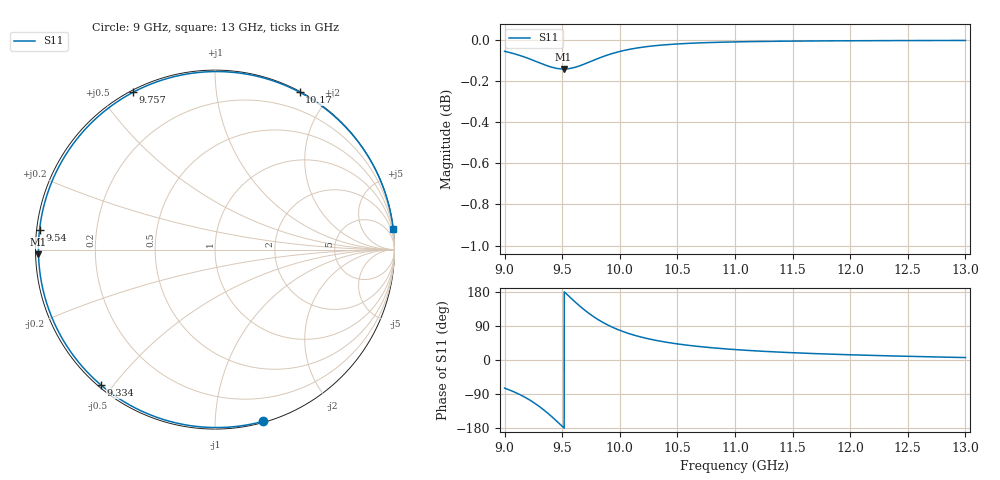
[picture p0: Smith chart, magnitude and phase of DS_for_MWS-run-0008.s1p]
! TOUCHSTONE file generated by CST DESIGN STUDIO
! Date and time: Tue Feb  4 17:19:18 2025
! Project name: C:\Work\MatlabApps\UnitCellOptimizationMatlab\CST\unitcell.cst
! Tree item: Tasks\Sweep1\SPara1\S-Parameters
! Header version: 2024
! Port assignment regex: !\s*Touchstone port\s*([0-9]+)\s*=\s*(CST MWS port|CST DES external port|CST DES block port)\s*(.+)\s* \(\"(.*)\"\)(\s*mode\s*([0-9]+))?.*
! Touchstone port assignment:
! Touchstone port 1 = CST DES external port 1 ("")
# GHz S MA R 50
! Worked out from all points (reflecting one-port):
!   4001 points, 9 GHz to 13 GHz, reference 50 ohm
!   lowest |S11| = -0.1 dB at 9.512 GHz (marker M1), VSWR 122.75, Z = 0.407 - j0.69 ohm
!   phase of S11 starts at -74 deg and turns -279 deg over the sweep
!   S11 on the Smith chart (normalised r, x): 9 GHz: 0.01, -1.32; 9.334 GHz: 0.01, -0.46; 9.54 GHz: 0.01, +0.06; 9.757 GHz: 0.01, +0.61; 10.17 GHz: 0.01, +1.67; 13 GHz: 0, +18
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9  0.9936 -74.3
9.09  0.9921 -85.2
9.194  0.99 -101.3
9.267  0.9882 -115.3
9.334  0.9865 -130.2
9.379  0.9854 -141.4
9.426  0.9845 -154.0
9.464  0.9841 -164.6
9.5  0.9839 -174.9
9.512  0.9838 -178.4
9.54  0.9839 173.5
9.594  0.9845 158.1
9.654  0.9856 141.9
9.705  0.9869 129.3
9.757  0.9883 117.6
9.808  0.9896 107.3
9.863  0.9909 97.5
10  0.9935 78.3
10.081  0.9947 69.6
10.169  0.9957 61.8
10.32  0.9968 51.4
10.5  0.9977 42.4
10.722  0.9984 34.5
11  0.9989 27.5
11.5  0.9993 19.2
12  0.9995 13.8
12.5  0.9996 9.7
13  0.9997 6.4
